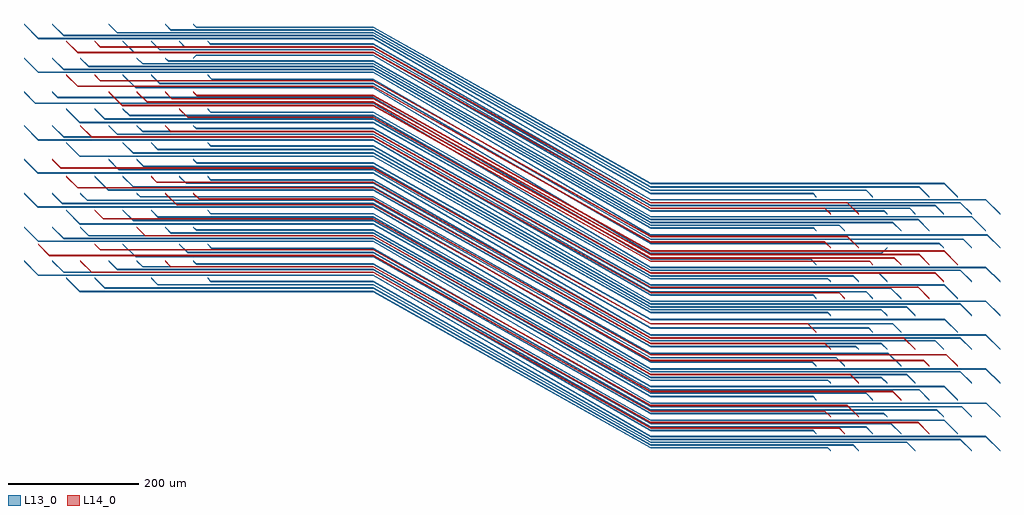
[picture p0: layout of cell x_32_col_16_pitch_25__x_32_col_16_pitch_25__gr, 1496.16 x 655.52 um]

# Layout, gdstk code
import gdstk
lib = gdstk.Library(unit=1e-6, precision=1e-09)
def R(c, l, rs):  # rectangles x0, y0, x1, y1
    for r in rs: c.add(gdstk.rectangle(r[:2], r[2:], *l))
def A(c, l, x, y, w, h, nx, ny, dx, dy):  # array of equal rectangles
    R(c, l, [(x+i*dx, y+j*dy, x+i*dx+w, y+j*dy+h) for i in range(nx) for j in range(ny)])
def P(c, l, *ps):  # polygons
    for p in ps: c.add(gdstk.Polygon(p, *l))
L13_0 = (13, 0)
L14_0 = (14, 0)

x_32_col_16_pitch_25__x_ = lib.new_cell('x_32_col_16_pitch_25__x_32_col_16_pitch_25__gr')
A(x_32_col_16_pitch_25__x_, L13_0, 2300, 1226.56, 271.46, 2, 1, 3, 0, 103.68)
A(x_32_col_16_pitch_25__x_, L13_0, 2300, 1235.2, 392.72, 2, 1, 3, 0, 103.68)
A(x_32_col_16_pitch_25__x_, L13_0, 2300, 1305.184, 248.946, 2, 1, 3, 0, 155.52)
A(x_32_col_16_pitch_25__x_, L13_0, 2300, 1310.368, 330.362, 2, 1, 3, 0, 155.52)
A(x_32_col_16_pitch_25__x_, L13_0, 2300, 1320.736, 449.894, 2, 1, 3, 0, 155.52)
A(x_32_col_16_pitch_25__x_, L13_0, 2300, 1334.56, 353.74, 2, 1, 3, 0, 51.84)
A(x_32_col_16_pitch_25__x_, L13_0, 2300, 1343.2, 475, 2, 1, 4, 0, 51.84)
A(x_32_col_16_pitch_25__x_, L13_0, 2300, 1347.52, 513.982, 2, 1, 4, 0, 51.84)
A(x_32_col_16_pitch_25__x_, L13_0, 1425.106, 1466.224, 449.894, 2, 1, 3, 0, 103.68)
A(x_32_col_16_pitch_25__x_, L13_0, 1544.638, 1476.592, 330.362, 2, 1, 3, 0, 103.68)
A(x_32_col_16_pitch_25__x_, L13_0, 1506.522, 1575.088, 368.478, 2, 1, 3, 0, 51.84)
A(x_32_col_16_pitch_25__x_, L13_0, 1626.054, 1585.456, 248.946, 2, 1, 4, 0, 51.84)
R(x_32_col_16_pitch_25__x_, L13_0, [(2300,1230.88,2610.44,1232.88), (2300,1239.52,2775,1241.52), (2300,1243.84,2813.982,1245.84), (2300,1253.344,2548.946,1255.344), (2300,1258.528,2630.362,1260.528), (2300,1263.712,2668.478,1265.712), (2300,1268.896,2749.894,1270.896), (2300,1279.264,2657.196,1281.264), (2300,1284.448,2738.612,1286.448), (2300,1289.632,2776.728,1291.632), (2300,1294.816,2814.846,1296.816), (2300,1315.552,2711.778,1317.552), (2300,1358.32,2547.65,1360.32), (2300,1364.8,2584.47,1366.8), (2300,1371.28,2664.59,1373.28), (2300,1382.08,2614.76,1384.08), (2300,1390.72,2736.02,1392.72), (2300,1410.16,2634.25,1412.16), (2300,1416.64,2671.07,1418.64), (2300,1423.12,2751.19,1425.12), (2300,1471.072,2668.478,1473.072), (1463.222,1471.408,1875,1473.408), (1626.054,1481.776,1875,1483.776), (2300,1485.76,2571.46,1487.76), (2300,1490.08,2610.44,1492.08), (1361.017,1491.28,1875,1493.28), (2300,1494.4,2649.42,1496.4), (1400,1495.6,1875,1497.6), (1482.28,1499.92,1875,1501.92), (1521.26,1504.24,1875,1506.24), (1603.54,1508.56,1875,1510.56), (2300,1516,2545.49,1518), (1510.41,1519.36,1875,1521.36), (2300,1524.64,2653.74,1526.64), (1590.53,1525.84,1875,1527.84), (1627.35,1532.32,1875,1534.32), (2300,1539.76,2742.5,1541.76), (1361.017,1543.12,1875,1545.12), (2300,1546.24,2779.32,1548.24), (1400,1547.44,1875,1549.44), (1438.98,1551.76,1875,1553.76), (2300,1552.72,2816.142,1554.72), (1564.56,1556.08,1875,1558.08), (1603.54,1560.4,1875,1562.4), (2300,1563.52,2549.81,1565.52), (2300,1567.84,2588.79,1569.84), (2300,1572.16,2671.07,1574.16), (2300,1576.48,2710.05,1578.48), (2300,1580.8,2792.332,1582.8), (2300,1589.44,2658.06,1591.44), (2300,1593.76,2697.04,1595.76), (1360.153,1595.824,1875,1597.824), (2300,1598.08,2736.02,1600.08), (1398.272,1601.008,1875,1603.008), (2300,1602.4,2775,1604.4), (1436.388,1606.192,1875,1608.192), (2300,1606.72,2813.982,1608.72), (1517.804,1611.376,1875,1613.376), (1468.406,1621.744,1875,1623.744), (2300,1626.592,2711.778,1628.592), (1587.938,1632.112,1875,1634.112), (1360.153,1647.664,1875,1649.664), (1484.872,1652.848,1875,1654.848), (1522.988,1658.032,1875,1660.032), (1604.404,1663.216,1875,1665.216), (1361.017,1698.64,1875,1700.64), (1400,1702.96,1875,1704.96), (1482.28,1707.28,1875,1709.28), (1521.26,1711.6,1875,1713.6), (1603.54,1715.92,1875,1717.92), (1425.106,1725.424,1875,1727.424), (1463.222,1730.608,1875,1732.608), (1501.338,1735.792,1875,1737.792), (1356.697,1754.8,1875,1756.8), (1391.36,1763.44,1875,1765.44), (1510.41,1778.56,1875,1780.56), (1547.23,1785.04,1875,1787.04), (1627.35,1791.52,1875,1793.52), (1361.017,1802.32,1875,1804.32), (1400,1806.64,1875,1808.64), (1438.98,1810.96,1875,1812.96), (1521.26,1815.28,1875,1817.28), (1560.24,1819.6,1875,1821.6), (1603.54,1828.24,1875,1830.24), (1508.25,1832.56,1875,1834.56), (1547.23,1836.88,1875,1838.88), (1586.21,1841.2,1875,1843.2), (1625.19,1845.52,1875,1847.52), (1361.017,1854.16,1875,1856.16), (1400,1858.48,1875,1860.48), (1482.28,1862.8,1875,1864.8), (1564.56,1867.12,1875,1869.12), (1603.54,1871.44,1875,1873.44)])
P(x_32_col_16_pitch_25__x_, L13_0, [(2554.13,1611.04),(2554.13,1613.04),(2548.946,1618.224),(2548.946,1616.224)],
  [(2300,1616.224),(2300,1618.224),(1875,1860.48),(1875,1858.48)],
  [(1400,1858.48),(1400,1860.48),(1382.72,1877.76),(1382.72,1875.76)],
  [(2640.73,1611.04),(2640.73,1613.04),(2630.362,1623.408),(2630.362,1621.408)],
  [(2300,1621.408),(2300,1623.408),(1875,1864.8),(1875,1862.8)],
  [(1482.28,1862.8),(1482.28,1864.8),(1469.32,1877.76),(1469.32,1875.76)],
  [(2727.33,1611.04),(2727.33,1613.04),(2711.778,1628.592),(2711.778,1626.592)],
  [(2300,1626.592),(2300,1628.592),(1875,1869.12),(1875,1867.12)],
  [(1564.56,1867.12),(1564.56,1869.12),(1555.92,1877.76),(1555.92,1875.76)],
  [(2770.63,1611.04),(2770.63,1613.04),(2749.894,1633.776),(2749.894,1631.776)],
  [(2300,1631.776),(2300,1633.776),(1875,1873.44),(1875,1871.44)],
  [(1603.54,1871.44),(1603.54,1873.44),(1599.22,1877.76),(1599.22,1875.76)],
  [(2662.38,1585.12),(2662.38,1587.12),(2658.06,1591.44),(2658.06,1589.44)],
  [(2300,1589.44),(2300,1591.44),(1875,1834.56),(1875,1832.56)],
  [(1508.25,1832.56),(1508.25,1834.56),(1490.97,1851.84),(1490.97,1849.84)],
  [(2705.68,1585.12),(2705.68,1587.12),(2697.04,1595.76),(2697.04,1593.76)],
  [(2300,1593.76),(2300,1595.76),(1875,1838.88),(1875,1836.88)],
  [(1547.23,1836.88),(1547.23,1838.88),(1534.27,1851.84),(1534.27,1849.84)],
  [(2748.98,1585.12),(2748.98,1587.12),(2736.02,1600.08),(2736.02,1598.08)],
  [(2300,1598.08),(2300,1600.08),(1875,1843.2),(1875,1841.2)],
  [(1586.21,1841.2),(1586.21,1843.2),(1577.57,1851.84),(1577.57,1849.84)],
  [(2792.28,1585.12),(2792.28,1587.12),(2775,1604.4),(2775,1602.4)],
  [(2300,1602.4),(2300,1604.4),(1875,1847.52),(1875,1845.52)],
  [(1625.19,1845.52),(1625.19,1847.52),(1620.87,1851.84),(1620.87,1849.84)],
  [(2835.582,1585.12),(2835.582,1587.12),(2813.982,1608.72),(2813.982,1606.72)],
  [(2300,1606.72),(2300,1608.72),(1875,1856.16),(1875,1854.16)],
  [(1361.017,1854.16),(1361.017,1856.16),(1339.417,1877.76),(1339.417,1875.76)],
  [(2554.13,1559.2),(2554.13,1561.2),(2549.81,1565.52),(2549.81,1563.52)],
  [(2300,1563.52),(2300,1565.52),(1875,1808.64),(1875,1806.64)],
  [(1400,1806.64),(1400,1808.64),(1382.72,1825.92),(1382.72,1823.92)],
  [(2597.43,1559.2),(2597.43,1561.2),(2588.79,1569.84),(2588.79,1567.84)],
  [(2300,1567.84),(2300,1569.84),(1875,1812.96),(1875,1810.96)],
  [(1438.98,1810.96),(1438.98,1812.96),(1426.02,1825.92),(1426.02,1823.92)],
  [(2684.03,1559.2),(2684.03,1561.2),(2671.07,1574.16),(2671.07,1572.16)],
  [(2300,1572.16),(2300,1574.16),(1875,1817.28),(1875,1815.28)],
  [(1521.26,1815.28),(1521.26,1817.28),(1512.62,1825.92),(1512.62,1823.92)],
  [(2727.33,1559.2),(2727.33,1561.2),(2710.05,1578.48),(2710.05,1576.48)],
  [(2300,1576.48),(2300,1578.48),(1875,1821.6),(1875,1819.6)],
  [(1560.24,1819.6),(1560.24,1821.6),(1555.92,1825.92),(1555.92,1823.92)],
  [(2813.932,1559.2),(2813.932,1561.2),(2792.332,1582.8),(2792.332,1580.8)],
  [(2300,1580.8),(2300,1582.8),(1875,1830.24),(1875,1828.24)],
  [(1603.54,1828.24),(1603.54,1830.24),(1599.22,1825.92),(1599.22,1823.92)],
  [(2662.38,1533.28),(2662.38,1535.28),(2653.74,1526.64),(2653.74,1524.64)],
  [(2300,1524.64),(2300,1526.64),(1875,1780.56),(1875,1778.56)],
  [(1510.41,1778.56),(1510.41,1780.56),(1490.97,1800),(1490.97,1798)],
  [(2748.98,1533.28),(2748.98,1535.28),(2742.5,1541.76),(2742.5,1539.76)],
  [(2300,1539.76),(2300,1541.76),(1875,1787.04),(1875,1785.04)],
  [(1547.23,1785.04),(1547.23,1787.04),(1534.27,1800),(1534.27,1798)],
  [(2792.28,1533.28),(2792.28,1535.28),(2779.32,1548.24),(2779.32,1546.24)],
  [(2300,1546.24),(2300,1548.24),(1875,1793.52),(1875,1791.52)],
  [(1627.35,1791.52),(1627.35,1793.52),(1620.87,1800),(1620.87,1798)],
  [(2835.582,1533.28),(2835.582,1535.28),(2816.142,1554.72),(2816.142,1552.72)],
  [(2300,1552.72),(2300,1554.72),(1875,1804.32),(1875,1802.32)],
  [(1361.017,1802.32),(1361.017,1804.32),(1339.417,1825.92),(1339.417,1823.92)],
  [(2554.13,1507.36),(2554.13,1509.36),(2545.49,1518),(2545.49,1516)],
  [(2300,1516),(2300,1518),(1875,1765.44),(1875,1763.44)],
  [(1391.36,1763.44),(1391.36,1765.44),(1382.72,1774.08),(1382.72,1772.08)],
  [(2575.78,1481.44),(2575.78,1483.44),(2571.46,1487.76),(2571.46,1485.76)],
  [(2300,1485.76),(2300,1487.76),(1875,1727.424),(1875,1725.424)],
  [(1425.106,1725.424),(1425.106,1727.424),(1404.37,1748.16),(1404.37,1746.16)],
  [(2619.08,1481.44),(2619.08,1483.44),(2610.44,1492.08),(2610.44,1490.08)],
  [(2300,1490.08),(2300,1492.08),(1875,1732.608),(1875,1730.608)],
  [(1463.222,1730.608),(1463.222,1732.608),(1447.67,1748.16),(1447.67,1746.16)],
  [(2662.38,1481.44),(2662.38,1483.44),(2649.42,1496.4),(2649.42,1494.4)],
  [(2300,1494.4),(2300,1496.4),(1875,1737.792),(1875,1735.792)],
  [(1501.338,1735.792),(1501.338,1737.792),(1490.97,1748.16),(1490.97,1746.16)],
  [(2792.28,1481.44),(2792.28,1483.44),(2775,1500.72),(2775,1498.72)],
  [(2300,1498.72),(2300,1500.72),(1875,1742.976),(1875,1740.976)],
  [(1626.054,1740.976),(1626.054,1742.976),(1620.87,1748.16),(1620.87,1746.16)],
  [(2835.582,1481.44),(2835.582,1483.44),(2813.982,1505.04),(2813.982,1503.04)],
  [(2300,1503.04),(2300,1505.04),(1875,1756.8),(1875,1754.8)],
  [(1356.697,1754.8),(1356.697,1756.8),(1339.417,1774.08),(1339.417,1772.08)],
  [(2554.13,1455.52),(2554.13,1457.52),(2548.946,1462.704),(2548.946,1460.704)],
  [(2300,1460.704),(2300,1462.704),(1875,1704.96),(1875,1702.96)],
  [(1400,1702.96),(1400,1704.96),(1382.72,1722.24),(1382.72,1720.24)],
  [(2640.73,1455.52),(2640.73,1457.52),(2630.362,1467.888),(2630.362,1465.888)],
  [(2300,1465.888),(2300,1467.888),(1875,1709.28),(1875,1707.28)],
  [(1482.28,1707.28),(1482.28,1709.28),(1469.32,1722.24),(1469.32,1720.24)],
  [(2684.03,1455.52),(2684.03,1457.52),(2668.478,1473.072),(2668.478,1471.072)],
  [(2300,1471.072),(2300,1473.072),(1875,1713.6),(1875,1711.6)],
  [(1521.26,1711.6),(1521.26,1713.6),(1512.62,1722.24),(1512.62,1720.24)],
  [(2770.63,1455.52),(2770.63,1457.52),(2749.894,1478.256),(2749.894,1476.256)],
  [(2300,1476.256),(2300,1478.256),(1875,1717.92),(1875,1715.92)],
  [(1603.54,1715.92),(1603.54,1717.92),(1599.22,1722.24),(1599.22,1720.24)],
  [(2575.78,1429.6),(2575.78,1431.6),(2571.46,1435.92),(2571.46,1433.92)],
  [(2300,1433.92),(2300,1435.92),(1875,1675.584),(1875,1673.584)],
  [(1425.106,1673.584),(1425.106,1675.584),(1404.37,1696.32),(1404.37,1694.32)],
  [(2662.38,1429.6),(2662.38,1431.6),(2653.74,1440.24),(2653.74,1438.24)],
  [(2300,1438.24),(2300,1440.24),(1875,1680.768),(1875,1678.768)],
  [(1506.522,1678.768),(1506.522,1680.768),(1490.97,1696.32),(1490.97,1694.32)],
  [(2705.68,1429.6),(2705.68,1431.6),(2692.72,1444.56),(2692.72,1442.56)],
  [(2300,1442.56),(2300,1444.56),(1875,1685.952),(1875,1683.952)],
  [(1544.638,1683.952),(1544.638,1685.952),(1534.27,1696.32),(1534.27,1694.32)],
  [(2792.28,1429.6),(2792.28,1431.6),(2775,1448.88),(2775,1446.88)],
  [(2300,1446.88),(2300,1448.88),(1875,1691.136),(1875,1689.136)],
  [(1626.054,1689.136),(1626.054,1691.136),(1620.87,1696.32),(1620.87,1694.32)],
  [(2835.582,1429.6),(2835.582,1431.6),(2813.982,1453.2),(2813.982,1451.2)],
  [(2300,1451.2),(2300,1453.2),(1875,1700.64),(1875,1698.64)],
  [(1361.017,1698.64),(1361.017,1700.64),(1339.417,1722.24),(1339.417,1720.24)],
  [(2640.73,1403.68),(2640.73,1405.68),(2634.25,1412.16),(2634.25,1410.16)],
  [(2300,1410.16),(2300,1412.16),(1875,1654.848),(1875,1652.848)],
  [(1484.872,1652.848),(1484.872,1654.848),(1469.32,1670.4),(1469.32,1668.4)],
  [(2684.03,1403.68),(2684.03,1405.68),(2671.07,1418.64),(2671.07,1416.64)],
  [(2300,1416.64),(2300,1418.64),(1875,1660.032),(1875,1658.032)],
  [(1522.988,1658.032),(1522.988,1660.032),(1512.62,1670.4),(1512.62,1668.4)],
  [(2770.63,1403.68),(2770.63,1405.68),(2751.19,1425.12),(2751.19,1423.12)],
  [(2300,1423.12),(2300,1425.12),(1875,1665.216),(1875,1663.216)],
  [(1604.404,1663.216),(1604.404,1665.216),(1599.22,1670.4),(1599.22,1668.4)],
  [(2619.08,1377.76),(2619.08,1379.76),(2614.76,1384.08),(2614.76,1382.08)],
  [(2300,1382.08),(2300,1384.08),(1875,1623.744),(1875,1621.744)],
  [(1468.406,1621.744),(1468.406,1623.744),(1447.67,1644.48),(1447.67,1642.48)],
  [(2662.38,1377.76),(2662.38,1379.76),(2653.74,1388.4),(2653.74,1386.4)],
  [(2300,1386.4),(2300,1388.4),(1875,1628.928),(1875,1626.928)],
  [(1506.522,1626.928),(1506.522,1628.928),(1490.97,1644.48),(1490.97,1642.48)],
  [(2748.98,1377.76),(2748.98,1379.76),(2736.02,1392.72),(2736.02,1390.72)],
  [(2300,1390.72),(2300,1392.72),(1875,1634.112),(1875,1632.112)],
  [(1587.938,1632.112),(1587.938,1634.112),(1577.57,1644.48),(1577.57,1642.48)],
  [(2792.28,1377.76),(2792.28,1379.76),(2775,1397.04),(2775,1395.04)],
  [(2300,1395.04),(2300,1397.04),(1875,1639.296),(1875,1637.296)],
  [(1626.054,1637.296),(1626.054,1639.296),(1620.87,1644.48),(1620.87,1642.48)],
  [(2835.582,1377.76),(2835.582,1379.76),(2813.982,1401.36),(2813.982,1399.36)],
  [(2300,1399.36),(2300,1401.36),(1875,1649.664),(1875,1647.664)],
  [(1360.153,1647.664),(1360.153,1649.664),(1339.417,1670.4),(1339.417,1668.4)],
  [(2554.13,1351.84),(2554.13,1353.84),(2547.65,1360.32),(2547.65,1358.32)],
  [(2300,1358.32),(2300,1360.32),(1875,1603.008),(1875,1601.008)],
  [(1398.272,1601.008),(1398.272,1603.008),(1382.72,1618.56),(1382.72,1616.56)],
  [(2597.43,1351.84),(2597.43,1353.84),(2584.47,1366.8),(2584.47,1364.8)],
  [(2300,1364.8),(2300,1366.8),(1875,1608.192),(1875,1606.192)],
  [(1436.388,1606.192),(1436.388,1608.192),(1426.02,1618.56),(1426.02,1616.56)],
  [(2684.03,1351.84),(2684.03,1353.84),(2664.59,1373.28),(2664.59,1371.28)],
  [(2300,1371.28),(2300,1373.28),(1875,1613.376),(1875,1611.376)],
  [(1517.804,1611.376),(1517.804,1613.376),(1512.62,1618.56),(1512.62,1616.56)],
  [(2575.78,1325.92),(2575.78,1327.92),(2571.46,1332.24),(2571.46,1330.24)],
  [(2300,1330.24),(2300,1332.24),(1875,1571.904),(1875,1569.904)],
  [(1425.106,1569.904),(1425.106,1571.904),(1404.37,1592.64),(1404.37,1590.64)],
  [(2662.38,1325.92),(2662.38,1327.92),(2653.74,1336.56),(2653.74,1334.56)],
  [(2300,1334.56),(2300,1336.56),(1875,1577.088),(1875,1575.088)],
  [(1506.522,1575.088),(1506.522,1577.088),(1490.97,1592.64),(1490.97,1590.64)],
  [(2705.68,1325.92),(2705.68,1327.92),(2692.72,1340.88),(2692.72,1338.88)],
  [(2300,1338.88),(2300,1340.88),(1875,1582.272),(1875,1580.272)],
  [(1544.638,1580.272),(1544.638,1582.272),(1534.27,1592.64),(1534.27,1590.64)],
  [(2792.28,1325.92),(2792.28,1327.92),(2775,1345.2),(2775,1343.2)],
  [(2300,1343.2),(2300,1345.2),(1875,1587.456),(1875,1585.456)],
  [(1626.054,1585.456),(1626.054,1587.456),(1620.87,1592.64),(1620.87,1590.64)],
  [(2835.582,1325.92),(2835.582,1327.92),(2813.982,1349.52),(2813.982,1347.52)],
  [(2300,1347.52),(2300,1349.52),(1875,1597.824),(1875,1595.824)],
  [(1360.153,1595.824),(1360.153,1597.824),(1339.417,1618.56),(1339.417,1616.56)],
  [(2554.13,1300),(2554.13,1302),(2548.946,1307.184),(2548.946,1305.184)],
  [(2300,1305.184),(2300,1307.184),(1875,1549.44),(1875,1547.44)],
  [(1400,1547.44),(1400,1549.44),(1382.72,1566.72),(1382.72,1564.72)],
  [(2640.73,1300),(2640.73,1302),(2630.362,1312.368),(2630.362,1310.368)],
  [(2300,1310.368),(2300,1312.368),(1875,1553.76),(1875,1551.76)],
  [(1438.98,1551.76),(1438.98,1553.76),(1426.02,1566.72),(1426.02,1564.72)],
  [(2727.33,1300),(2727.33,1302),(2711.778,1317.552),(2711.778,1315.552)],
  [(2300,1315.552),(2300,1317.552),(1875,1558.08),(1875,1556.08)],
  [(1564.56,1556.08),(1564.56,1558.08),(1555.92,1566.72),(1555.92,1564.72)],
  [(2770.63,1300),(2770.63,1302),(2749.894,1322.736),(2749.894,1320.736)],
  [(2300,1320.736),(2300,1322.736),(1875,1562.4),(1875,1560.4)],
  [(1603.54,1560.4),(1603.54,1562.4),(1599.22,1566.72),(1599.22,1564.72)],
  [(2662.38,1274.08),(2662.38,1276.08),(2657.196,1281.264),(2657.196,1279.264)],
  [(2300,1279.264),(2300,1281.264),(1875,1521.36),(1875,1519.36)],
  [(1510.41,1519.36),(1510.41,1521.36),(1490.97,1540.8),(1490.97,1538.8)],
  [(2748.98,1274.08),(2748.98,1276.08),(2738.612,1286.448),(2738.612,1284.448)],
  [(2300,1284.448),(2300,1286.448),(1875,1527.84),(1875,1525.84)],
  [(1590.53,1525.84),(1590.53,1527.84),(1577.57,1540.8),(1577.57,1538.8)],
  [(2792.28,1274.08),(2792.28,1276.08),(2776.728,1291.632),(2776.728,1289.632)],
  [(2300,1289.632),(2300,1291.632),(1875,1534.32),(1875,1532.32)],
  [(1627.35,1532.32),(1627.35,1534.32),(1620.87,1540.8),(1620.87,1538.8)],
  [(2835.582,1274.08),(2835.582,1276.08),(2814.846,1296.816),(2814.846,1294.816)],
  [(2300,1294.816),(2300,1296.816),(1875,1545.12),(1875,1543.12)],
  [(1361.017,1543.12),(1361.017,1545.12),(1339.417,1566.72),(1339.417,1564.72)],
  [(2554.13,1248.16),(2554.13,1250.16),(2548.946,1255.344),(2548.946,1253.344)],
  [(2300,1253.344),(2300,1255.344),(1875,1497.6),(1875,1495.6)],
  [(1400,1495.6),(1400,1497.6),(1382.72,1514.88),(1382.72,1512.88)],
  [(2640.73,1248.16),(2640.73,1250.16),(2630.362,1260.528),(2630.362,1258.528)],
  [(2300,1258.528),(2300,1260.528),(1875,1501.92),(1875,1499.92)],
  [(1482.28,1499.92),(1482.28,1501.92),(1469.32,1514.88),(1469.32,1512.88)],
  [(2684.03,1248.16),(2684.03,1250.16),(2668.478,1265.712),(2668.478,1263.712)],
  [(2300,1263.712),(2300,1265.712),(1875,1506.24),(1875,1504.24)],
  [(1521.26,1504.24),(1521.26,1506.24),(1512.62,1514.88),(1512.62,1512.88)],
  [(2770.63,1248.16),(2770.63,1250.16),(2749.894,1270.896),(2749.894,1268.896)],
  [(2300,1268.896),(2300,1270.896),(1875,1510.56),(1875,1508.56)],
  [(1603.54,1508.56),(1603.54,1510.56),(1599.22,1514.88),(1599.22,1512.88)],
  [(2575.78,1222.24),(2575.78,1224.24),(2571.46,1228.56),(2571.46,1226.56)],
  [(2300,1226.56),(2300,1228.56),(1875,1468.224),(1875,1466.224)],
  [(1425.106,1466.224),(1425.106,1468.224),(1404.37,1488.96),(1404.37,1486.96)],
  [(2619.08,1222.24),(2619.08,1224.24),(2610.44,1232.88),(2610.44,1230.88)],
  [(2300,1230.88),(2300,1232.88),(1875,1473.408),(1875,1471.408)],
  [(1463.222,1471.408),(1463.222,1473.408),(1447.67,1488.96),(1447.67,1486.96)],
  [(2705.68,1222.24),(2705.68,1224.24),(2692.72,1237.2),(2692.72,1235.2)],
  [(2300,1235.2),(2300,1237.2),(1875,1478.592),(1875,1476.592)],
  [(1544.638,1476.592),(1544.638,1478.592),(1534.27,1488.96),(1534.27,1486.96)],
  [(2792.28,1222.24),(2792.28,1224.24),(2775,1241.52),(2775,1239.52)],
  [(2300,1239.52),(2300,1241.52),(1875,1483.776),(1875,1481.776)],
  [(1626.054,1481.776),(1626.054,1483.776),(1620.87,1488.96),(1620.87,1486.96)],
  [(2835.582,1222.24),(2835.582,1224.24),(2813.982,1245.84),(2813.982,1243.84)],
  [(2300,1243.84),(2300,1245.84),(1875,1493.28),(1875,1491.28)],
  [(1361.017,1491.28),(1361.017,1493.28),(1339.417,1514.88),(1339.417,1512.88)])
R(x_32_col_16_pitch_25__x_, L14_0, [(2300,1256.8,2588.79,1258.8), (2300,1265.44,2710.05,1267.44), (2300,1282.72,2567.14,1284.72), (2300,1291.36,2601.8,1293.36), (2300,1312.96,2671.07,1314.96), (2300,1338.88,2606.12,1340.88), (2300,1360.48,2718.69,1362.48), (2300,1369.12,2753.35,1371.12), (2300,1386.4,2567.14,1388.4), (2300,1395.04,2688.4,1397.04), (2300,1416.64,2541.17,1418.64), (2300,1464.16,2588.79,1466.16), (2300,1472.8,2710.05,1474.8), (2300,1494.4,2736.02,1496.4), (1443.3,1495.6,1875,1497.6), (1564.56,1504.24,1875,1506.24), (2300,1512.544,2635.546,1514.544), (2300,1517.728,2673.662,1519.728), (1378.347,1521.52,1875,1523.52), (2300,1522.912,2711.778,1524.912), (2300,1528.096,2749.894,1530.096), (1456.31,1530.16,1875,1532.16), (2300,1541.92,2567.14,1543.92), (2300,1550.56,2601.8,1552.56), (1525.58,1551.76,1875,1553.76), (1460.63,1577.68,1875,1579.68), (2300,1593.76,2567.14,1595.76), (1573.2,1599.28,1875,1601.28), (2300,1602.4,2601.8,1604.4), (1607.86,1607.92,1875,1609.92), (1421.65,1625.2,1875,1627.2), (1542.91,1633.84,1875,1635.84), (1395.68,1655.44,1875,1657.44), (1443.3,1702.96,1875,1704.96), (1564.56,1711.6,1875,1713.6), (1590.53,1733.2,1875,1735.2), (1490.056,1751.344,1875,1753.344), (1528.172,1756.528,1875,1758.528), (1566.288,1761.712,1875,1763.712), (1604.404,1766.896,1875,1768.896), (1421.65,1780.72,1875,1782.72), (1456.31,1789.36,1875,1791.36), (1421.65,1832.56,1875,1834.56), (1456.31,1841.2,1875,1843.2)])
P(x_32_col_16_pitch_25__x_, L14_0, [(2575.78,1585.12),(2575.78,1587.12),(2567.14,1595.76),(2567.14,1593.76)],
  [(2300,1593.76),(2300,1595.76),(1875,1834.56),(1875,1832.56)],
  [(1421.65,1832.56),(1421.65,1834.56),(1404.37,1851.84),(1404.37,1849.84)],
  [(2619.08,1585.12),(2619.08,1587.12),(2601.8,1604.4),(2601.8,1602.4)],
  [(2300,1602.4),(2300,1604.4),(1875,1843.2),(1875,1841.2)],
  [(1456.31,1841.2),(1456.31,1843.2),(1447.67,1851.84),(1447.67,1849.84)],
  [(2575.78,1533.28),(2575.78,1535.28),(2567.14,1543.92),(2567.14,1541.92)],
  [(2300,1541.92),(2300,1543.92),(1875,1782.72),(1875,1780.72)],
  [(1421.65,1780.72),(1421.65,1782.72),(1404.37,1800),(1404.37,1798)],
  [(2619.08,1533.28),(2619.08,1535.28),(2601.8,1552.56),(2601.8,1550.56)],
  [(2300,1550.56),(2300,1552.56),(1875,1791.36),(1875,1789.36)],
  [(1456.31,1789.36),(1456.31,1791.36),(1447.67,1800),(1447.67,1798)],
  [(2640.73,1507.36),(2640.73,1509.36),(2635.546,1514.544),(2635.546,1512.544)],
  [(2300,1512.544),(2300,1514.544),(1875,1753.344),(1875,1751.344)],
  [(1490.056,1751.344),(1490.056,1753.344),(1469.32,1774.08),(1469.32,1772.08)],
  [(2684.03,1507.36),(2684.03,1509.36),(2673.662,1519.728),(2673.662,1517.728)],
  [(2300,1517.728),(2300,1519.728),(1875,1758.528),(1875,1756.528)],
  [(1528.172,1756.528),(1528.172,1758.528),(1512.62,1774.08),(1512.62,1772.08)],
  [(2727.33,1507.36),(2727.33,1509.36),(2711.778,1524.912),(2711.778,1522.912)],
  [(2300,1522.912),(2300,1524.912),(1875,1763.712),(1875,1761.712)],
  [(1566.288,1761.712),(1566.288,1763.712),(1555.92,1774.08),(1555.92,1772.08)],
  [(2770.63,1507.36),(2770.63,1509.36),(2749.894,1530.096),(2749.894,1528.096)],
  [(2300,1528.096),(2300,1530.096),(1875,1768.896),(1875,1766.896)],
  [(1604.404,1766.896),(1604.404,1768.896),(1599.22,1774.08),(1599.22,1772.08)],
  [(2748.98,1481.44),(2748.98,1483.44),(2736.02,1496.4),(2736.02,1494.4)],
  [(2300,1494.4),(2300,1496.4),(1875,1735.2),(1875,1733.2)],
  [(1590.53,1733.2),(1590.53,1735.2),(1577.57,1748.16),(1577.57,1746.16)],
  [(2597.43,1455.52),(2597.43,1457.52),(2588.79,1466.16),(2588.79,1464.16)],
  [(2300,1464.16),(2300,1466.16),(1875,1704.96),(1875,1702.96)],
  [(1443.3,1702.96),(1443.3,1704.96),(1426.02,1722.24),(1426.02,1720.24)],
  [(2727.33,1455.52),(2727.33,1457.52),(2710.05,1474.8),(2710.05,1472.8)],
  [(2300,1472.8),(2300,1474.8),(1875,1713.6),(1875,1711.6)],
  [(1564.56,1711.6),(1564.56,1713.6),(1555.92,1722.24),(1555.92,1720.24)],
  [(2554.13,1403.68),(2554.13,1405.68),(2541.17,1418.64),(2541.17,1416.64)],
  [(2300,1416.64),(2300,1418.64),(1875,1657.44),(1875,1655.44)],
  [(1395.68,1655.44),(1395.68,1657.44),(1382.72,1670.4),(1382.72,1668.4)],
  [(2575.78,1377.76),(2575.78,1379.76),(2567.14,1388.4),(2567.14,1386.4)],
  [(2300,1386.4),(2300,1388.4),(1875,1627.2),(1875,1625.2)],
  [(1421.65,1625.2),(1421.65,1627.2),(1404.37,1644.48),(1404.37,1642.48)],
  [(2705.68,1377.76),(2705.68,1379.76),(2688.4,1397.04),(2688.4,1395.04)],
  [(2300,1395.04),(2300,1397.04),(1875,1635.84),(1875,1633.84)],
  [(1542.91,1633.84),(1542.91,1635.84),(1534.27,1644.48),(1534.27,1642.48)],
  [(2727.33,1351.84),(2727.33,1353.84),(2718.69,1362.48),(2718.69,1360.48)],
  [(2300,1360.48),(2300,1362.48),(1875,1601.28),(1875,1599.28)],
  [(1573.2,1599.28),(1573.2,1601.28),(1555.92,1618.56),(1555.92,1616.56)],
  [(2770.63,1351.84),(2770.63,1353.84),(2753.35,1371.12),(2753.35,1369.12)],
  [(2300,1369.12),(2300,1371.12),(1875,1609.92),(1875,1607.92)],
  [(1607.86,1607.92),(1607.86,1609.92),(1599.22,1618.56),(1599.22,1616.56)],
  [(2619.08,1325.92),(2619.08,1327.92),(2606.12,1340.88),(2606.12,1338.88)],
  [(2300,1338.88),(2300,1340.88),(1875,1579.68),(1875,1577.68)],
  [(1460.63,1577.68),(1460.63,1579.68),(1447.67,1592.64),(1447.67,1590.64)],
  [(2684.03,1300),(2684.03,1302),(2671.07,1314.96),(2671.07,1312.96)],
  [(2300,1312.96),(2300,1314.96),(1875,1553.76),(1875,1551.76)],
  [(1525.58,1551.76),(1525.58,1553.76),(1512.62,1566.72),(1512.62,1564.72)],
  [(2575.78,1274.08),(2575.78,1276.08),(2567.14,1284.72),(2567.14,1282.72)],
  [(2300,1282.72),(2300,1284.72),(1875,1523.52),(1875,1521.52)],
  [(1378.347,1521.52),(1378.347,1523.52),(1361.067,1540.8),(1361.067,1538.8)],
  [(2619.08,1274.08),(2619.08,1276.08),(2601.8,1293.36),(2601.8,1291.36)],
  [(2300,1291.36),(2300,1293.36),(1875,1532.16),(1875,1530.16)],
  [(1456.31,1530.16),(1456.31,1532.16),(1447.67,1540.8),(1447.67,1538.8)],
  [(2597.43,1248.16),(2597.43,1250.16),(2588.79,1258.8),(2588.79,1256.8)],
  [(2300,1256.8),(2300,1258.8),(1875,1497.6),(1875,1495.6)],
  [(1443.3,1495.6),(1443.3,1497.6),(1426.02,1514.88),(1426.02,1512.88)],
  [(2727.33,1248.16),(2727.33,1250.16),(2710.05,1267.44),(2710.05,1265.44)],
  [(2300,1265.44),(2300,1267.44),(1875,1506.24),(1875,1504.24)],
  [(1564.56,1504.24),(1564.56,1506.24),(1555.92,1514.88),(1555.92,1512.88)])

lib.write_gds('x_32_col_16_pitch_25__x_32_col_16_pitch_25__gr.gds')
